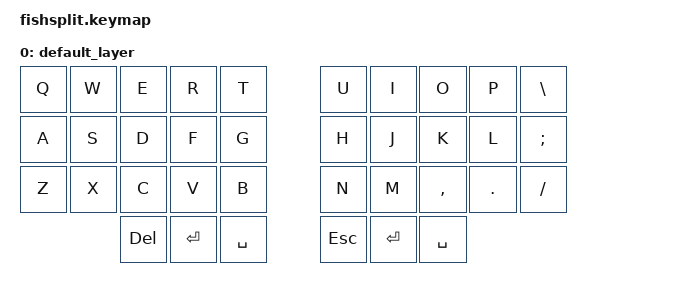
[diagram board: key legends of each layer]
#include <behaviors.dtsi>
#include <dt-bindings/zmk/keys.h>

/ {
    keymap {
        compatible = "zmk,keymap";

        default_layer {
            bindings = <
    &kp Q    &kp W    &kp E     &kp R      &kp T      &kp U     &kp I     &kp O     &kp P     &kp BSLH
    &kp A    &kp S    &kp D     &kp F      &kp G      &kp H     &kp J     &kp K     &kp L     &kp SEMI 
    &kp Z    &kp X    &kp C     &kp V      &kp B      &kp N     &kp M     &kp COMMA &kp DOT   &kp FSLH 
                      &kp DEL   &kp RET    &kp SPACE  &kp ESC   &kp RET   &kp SPACE 
            >;
        };
    };
};
